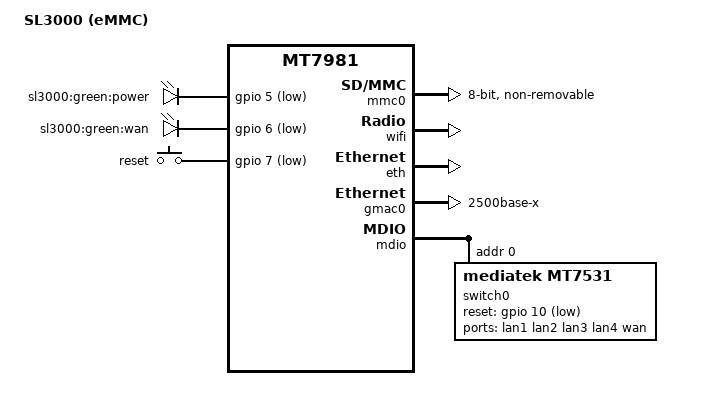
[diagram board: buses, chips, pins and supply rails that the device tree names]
/dts-v1/;

#include "mt7981.dtsi"

/ {
	model = "SL3000 (eMMC)";
	compatible = "sl3000,mt7981-emmc", "mediatek,mt7981";

	chosen {
		bootargs = "console=ttyS0,115200n8 loglevel=8";
	};
};

/* ===== eMMC ===== */
&mmc0 {
	bus-width = <8>;
	max-frequency = <52000000>;
	cap-mmc-highspeed;
	non-removable;
	status = "okay";
};

/* ===== WiFi ===== */
&wifi {
	status = "okay";
};

/* ===== Ethernet / DSA / Switch ===== */
&eth {
	status = "okay";
	mediatek,eth-mac = <&gmac0>;
};

&gmac0 {
	phy-mode = "2500base-x";
	mediatek,switch = <&switch0>;
};

&mdio {
	switch0: switch@0 {
		compatible = "mediatek,mt7531";
		reg = <0>;
		reset-gpios = <&gpio 10 GPIO_ACTIVE_LOW>;
		interrupt-controller;
		#interrupt-cells = <1>;
	};
};

&switch0 {
	ports {
		port@0 {
			reg = <0>;
			label = "lan1";
		};
		port@1 {
			reg = <1>;
			label = "lan2";
		};
		port@2 {
			reg = <2>;
			label = "lan3";
		};
		port@3 {
			reg = <3>;
			label = "lan4";
		};
		port@4 {
			reg = <4>;
			label = "wan";
		};
	};
};

/* ===== LEDs ===== */
&leds {
	status = "okay";

	led_power: power {
		label = "sl3000:green:power";
		gpios = <&gpio 5 GPIO_ACTIVE_LOW>;
		default-state = "on";
	};

	led_wan: wan {
		label = "sl3000:green:wan";
		gpios = <&gpio 6 GPIO_ACTIVE_LOW>;
	};
};

/* ===== Buttons ===== */
&keys {
	status = "okay";

	reset {
		label = "reset";
		gpios = <&gpio 7 GPIO_ACTIVE_LOW>;
		linux,code = <KEY_RESTART>;
	};
};
